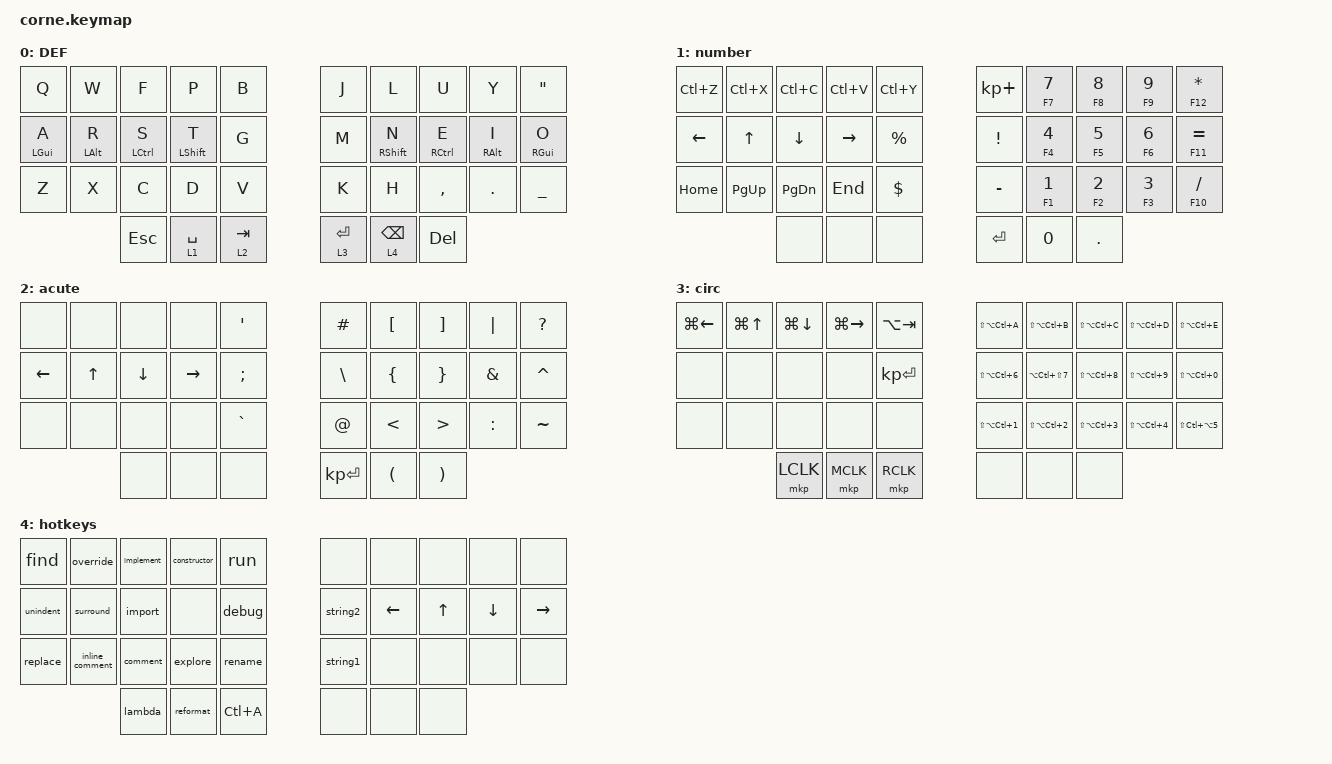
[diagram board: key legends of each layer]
/*
 * Copyright (c) 2020 The ZMK Contributors
 *
 * SPDX-License-Identifier: MIT
 */

#include <behaviors.dtsi>
#include <dt-bindings/zmk/bt.h>
#include <dt-bindings/zmk/keys.h>
#include <dt-bindings/zmk/mouse.h>

#define DEFAULT_L 0

&lt {
    quick-tap-ms = <200>;
    tapping-term-ms = <200>;
};

/ {
    chosen { zmk,matrix_transform = &five_column_transform; };

    behaviors {
        hm: homerow_mods {
            compatible = "zmk,behavior-hold-tap";
            label = "HOMEROW_MODS";
            #binding-cells = <2>;
            tapping-term-ms = <300>;
            flavor = "tap-preferred";
            bindings = <&kp>, <&kp>;

            quick-tap-ms = <300>;
        };

        slashandbackslash: slashandbackslash {
            compatible = "zmk,behavior-mod-morph";
            label = "SLASHANDBACKSLASH";
            bindings = <&kp SLASH>, <&kp BACKSLASH>;

            #binding-cells = <0>;
            mods = <(MOD_LALT|MOD_RALT)>;
        };
    };

    macros {
        reformat: aacute {
            compatible = "zmk,behavior-macro";
            label = "AACUTE";
            #binding-cells = <0>;
            bindings = <&kp LC(LA(O)) &kp LA(LC(L))>;
        };

        rename: rename {
            compatible = "zmk,behavior-macro";
            #binding-cells = <0>;
            bindings = <&kp LS(F6)>;
            label = "RENAME";
        };

        explore: explore {
            compatible = "zmk,behavior-macro";
            #binding-cells = <0>;
            bindings = <&kp LG(E)>;
            label = "EXPLORE";
        };

        comment: comment {
            compatible = "zmk,behavior-macro";
            #binding-cells = <0>;
            bindings = <&kp LC(SLASH)>;
            label = "COMMENT";
        };

        inline_comment: inline_comment {
            compatible = "zmk,behavior-macro";
            #binding-cells = <0>;
            bindings = <&kp LS(LC(SLASH))>;
            label = "INLINE_COMMENT";
        };

        replace: replace {
            compatible = "zmk,behavior-macro";
            #binding-cells = <0>;
            bindings = <&kp LC(R)>;
            label = "REPLACE";
        };

        unindent: unindent {
            compatible = "zmk,behavior-macro";
            #binding-cells = <0>;
            bindings = <&kp LS(TAB)>;
            label = "UNINDENT";
        };

        find: find {
            compatible = "zmk,behavior-macro";
            #binding-cells = <0>;
            bindings = <&kp LC(F)>;
            label = "FIND";
        };

        surround: surround {
            compatible = "zmk,behavior-macro";
            #binding-cells = <0>;
            bindings = <&kp LA(LC(T))>;
            label = "SURROUND";
        };

        override: override {
            compatible = "zmk,behavior-macro";
            #binding-cells = <0>;
            bindings = <&kp LC(O)>;
            label = "OVERRIDE";
        };

        import: import {
            compatible = "zmk,behavior-macro";
            #binding-cells = <0>;
            bindings = <&kp LA(KP_ENTER)>;
            label = "IMPORT";
        };

        implement: implement {
            compatible = "zmk,behavior-macro";
            #binding-cells = <0>;
            bindings = <&kp LC(I)>;
            label = "IMPLEMENT";
        };

        constructor: constructor {
            compatible = "zmk,behavior-macro";
            #binding-cells = <0>;
            bindings = <&kp LA(INSERT)>;
            label = "CONSTRUCTOR";
        };

        run: run {
            compatible = "zmk,behavior-macro";
            #binding-cells = <0>;
            bindings = <&kp LS(F10)>;
            label = "RUN";
        };

        debug: debug {
            compatible = "zmk,behavior-macro";
            #binding-cells = <0>;
            bindings = <&kp LS(F9)>;
            label = "DEBUG";
        };

        lambda: lambda {
            compatible = "zmk,behavior-macro";
            #binding-cells = <0>;
            bindings = <&kp MINUS &kp GT &kp LEFT_BRACE &kp RBRC>;
            label = "LAMBDA";
        };

        string1: string1 {
            compatible = "zmk,behavior-macro";
            #binding-cells = <0>;
            bindings = <&kp LS(H) &kp Y &kp D &kp R &kp O &kp G &kp E &kp N &kp LS(P) &kp E &kp R &kp O &kp X &kp I &kp D &kp E &kp UNDER &kp LS(H) &kp N2 &kp LS(O) &kp N2 &kp KP_ENTER>;
            label = "STRING1";
        };

        string2: string2 {
            compatible = "zmk,behavior-macro";
            #binding-cells = <0>;
            bindings = <&kp LS(S) &kp AT &kp L &kp PLUS &kp LS(N) &kp A &kp N1 &kp LS(C) &kp L &kp N1 &kp KP_ENTER>;
            label = "STRING2";
        };
    };

    combos {
        compatible = "zmk,combos";

        caps {
            bindings = <&caps_word>;
            key-positions = <16 13>;
        };

        escape {
            bindings = <&kp ESCAPE>;
            key-positions = <0 9>;
        };

        BT_clear {
            bindings = <&bt BT_CLR_ALL>;
            key-positions = <29 20>;
        };
    };

    keymap {
        compatible = "zmk,keymap";

        default_layer {
            label = "DEF";
            bindings = <
  &kp Q       &kp W           &kp F               &kp P             &kp B        &kp J        &kp L              &kp U                &kp Y            &kp DOUBLE_QUOTES
  &hm LGUI A  &hm LEFT_ALT R  &hm LEFT_CONTROL S  &hm LEFT_SHIFT T  &kp G        &kp M        &hm RIGHT_SHIFT N  &hm RIGHT_CONTROL E  &hm RIGHT_ALT I  &hm RIGHT_GUI O
  &kp Z       &kp X           &kp C               &kp D             &kp V        &kp K        &kp H              &kp COMMA            &kp PERIOD       &kp UNDER
                              &kp ESCAPE          &lt 1 SPACE       &lt 2 TAB    &lt 3 ENTER  &lt 4 BACKSPACE    &kp DELETE
            >;
        };

        number {
            bindings = <
  &kp LC(Z)       &kp LC(X)    &kp LC(C)      &kp LC(V)  &kp LC(Y)      &kp KP_PLUS      &hm F7 NUMBER_7  &hm F8 NUMBER_8  &hm F9 NUMBER_9  &hm F12 ASTERISK
  &kp LEFT_ARROW  &kp UP       &kp DOWN       &kp RIGHT  &kp PERCENT    &kp EXCLAMATION  &hm F4 NUMBER_4  &hm F5 NUMBER_5  &hm F6 NUMBER_6  &hm F11 EQUAL
  &kp HOME        &kp PAGE_UP  &kp PAGE_DOWN  &kp END    &kp DOLLAR     &kp MINUS        &hm F1 NUMBER_1  &hm F2 NUMBER_2  &hm F3 NUMBER_3  &hm F10 SLASH
                               &none          &none      &none          &kp ENTER        &kp N0           &kp PERIOD
            >;
        };

        symbols {
            bindings = <
  &none           &none         &none           &none            &kp SINGLE_QUOTE    &kp HASH       &kp LEFT_BRACKET      &kp RIGHT_BRACKET      &kp PIPE       &kp QUESTION
  &kp LEFT_ARROW  &kp UP_ARROW  &kp DOWN_ARROW  &kp RIGHT_ARROW  &kp SEMICOLON       &kp BACKSLASH  &kp LEFT_BRACE        &kp RIGHT_BRACE        &kp AMPERSAND  &kp CARET
  &none           &none         &none           &none            &kp GRAVE           &kp AT_SIGN    &kp LESS_THAN         &kp GREATER_THAN       &kp COLON      &kp TILDE
                                &none           &none            &none               &kp KP_ENTER   &kp LEFT_PARENTHESIS  &kp RIGHT_PARENTHESIS
            >;

            label = "acute";
        };

        mouse {
            bindings = <
  &kp LG(LEFT_ARROW)  &kp LG(UP_ARROW)  &kp LG(DOWN_ARROW)  &kp LG(RIGHT_ARROW)  &kp LA(TAB)     &kp LS(LA(LC(A)))         &kp LS(LA(LC(B)))         &kp LS(LA(LC(C)))         &kp LS(LA(LC(D)))         &kp LS(LA(LC(E)))
  &none               &none             &none               &none                &kp KP_ENTER    &kp LS(LA(LC(NUMBER_6)))  &kp LA(LC(LS(NUMBER_7)))  &kp LS(LA(LC(NUMBER_8)))  &kp LS(LA(LC(NUMBER_9)))  &kp LS(LA(LC(NUMBER_0)))
  &none               &none             &none               &none                &none           &kp LS(LA(LC(NUMBER_1)))  &kp LS(LA(LC(NUMBER_2)))  &kp LS(LA(LC(NUMBER_3)))  &kp LS(LA(LC(NUMBER_4)))  &kp LS(LC(LA(NUMBER_5)))
                                        &mkp LCLK           &mkp MCLK            &mkp RCLK       &none                     &none                     &none
            >;

            label = "circ";
        };

        hotkeys {
            bindings = <
  &find      &override        &implement  &constructor  &run         &none     &none           &none         &none           &none
  &unindent  &surround        &import     &none         &debug       &string2  &kp LEFT_ARROW  &kp UP_ARROW  &kp DOWN_ARROW  &kp RIGHT_ARROW
  &replace   &inline_comment  &comment    &explore      &rename      &string1  &none           &none         &none           &none
                              &lambda     &reformat     &kp LC(A)    &none     &none           &none
            >;
        };
    };
};
